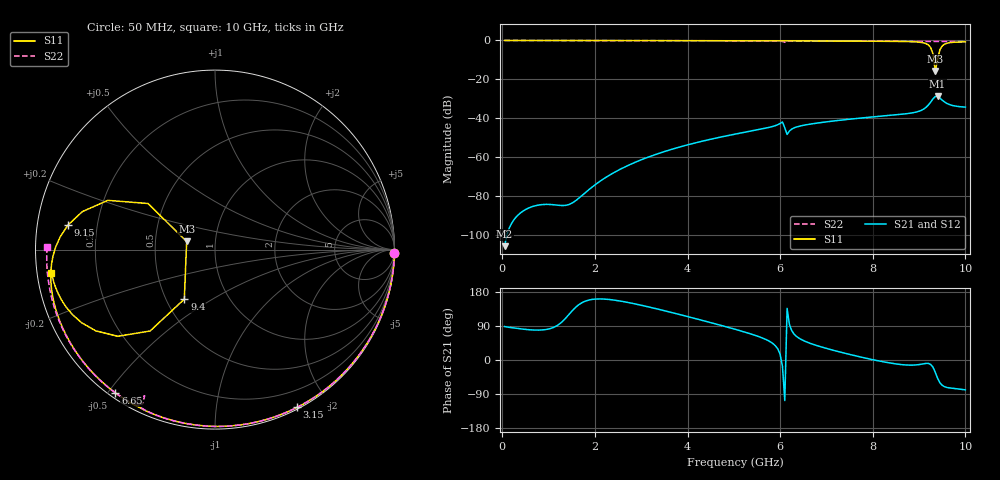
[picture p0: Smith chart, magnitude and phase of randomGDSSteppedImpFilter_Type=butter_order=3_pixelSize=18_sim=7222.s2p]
! freq	dB(S11)	phase(S11)	dB(S12)	phase(S12)
!  dB(S21)	phase(S21)	dB(S22)	phase(S22)
!S-par simulation data
#  GHz  S  DB  R 50
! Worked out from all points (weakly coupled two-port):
!   200 points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, 50 MHz to 10 GHz, reference 50 ohm
!   highest |S21| = -28.81 dB at 9.4 GHz (marker M1); lowest = -105.9 dB at 50 MHz (marker M2)
!   lowest |S11| = -15.7 dB at 9.35 GHz (marker M3), VSWR 1.39, Z = 36.2 + j3.37 ohm
!   |S11| at or under -10 dB: 9.318 GHz to 9.398 GHz (80.4 MHz wide, 0.859 % of centre)
!   |S22| runs from -0.9 to 0.0 dB; largest |S21 - S12| = 0
!   S11 on the Smith chart (normalised r, x): 50 MHz: open; 3.15 GHz: 0.02, -1.65; 6.65 GHz: 0.02, -0.52; 9.15 GHz: 0.09, +0.08; 9.4 GHz: 0.62, -0.38; 10 GHz: 0.04, -0.07
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0.05  -0.00 -1.0  -105.89 88.2  -105.89 88.2  -0.00 -1.1
1.75  -0.04 -35.4  -79.21 153.0  -79.21 153.0  -0.05 -36.6
2.35  -0.06 -47.2  -68.85 159.1  -68.85 159.1  -0.06 -48.6
3.15  -0.08 -62.5  -60.06 140.4  -60.06 140.4  -0.08 -64.2
3.4  -0.09 -67.2  -57.97 133.1  -57.97 133.1  -0.09 -69.0
5.05  -0.15 -97.0  -48.10 80.3  -48.10 80.3  -0.15 -98.9
6.05  -0.21 -114.5  -41.99 -17.1  -41.99 -17.1  -0.54 -118.0
6.15  -0.22 -116.1  -48.37 136.2  -48.37 136.2  -0.44 -115.2
6.3  -0.22 -118.7  -45.00 68.5  -45.00 68.5  -0.25 -119.0
6.65  -0.25 -124.8  -43.05 43.9  -43.05 43.9  -0.25 -125.3
6.7  -0.25 -125.7  -42.87 41.8  -42.87 41.8  -0.25 -126.1
8.35  -0.44 -156.9  -38.61 -7.5  -38.61 -7.5  -0.39 -153.1
8.85  -0.66 -170.9  -37.29 -13.6  -37.29 -13.6  -0.44 -161.4
9.15  -1.62 170.4  -34.44 -9.0  -34.44 -9.0  -0.47 -166.3
9.25  -3.65 155.3  -31.74 -11.6  -31.74 -11.6  -0.49 -168.0
9.3  -6.88 145.5  -30.06 -19.0  -30.06 -19.0  -0.49 -168.8
9.35  -15.69 164.0  -28.85 -32.5  -28.85 -32.5  -0.50 -169.6
9.4  -9.78 -121.8  -28.81 -48.3  -28.81 -48.3  -0.50 -170.5
9.45  -4.73 -128.6  -29.68 -60.1  -29.68 -60.1  -0.51 -171.3
9.5  -2.78 -138.3  -30.76 -66.9  -30.76 -66.9  -0.51 -172.2
9.6  -1.44 -151.2  -32.40 -72.4  -32.40 -72.4  -0.52 -173.9
10  -0.72 -172.0  -34.30 -78.7  -34.30 -78.7  -0.58 179.2
